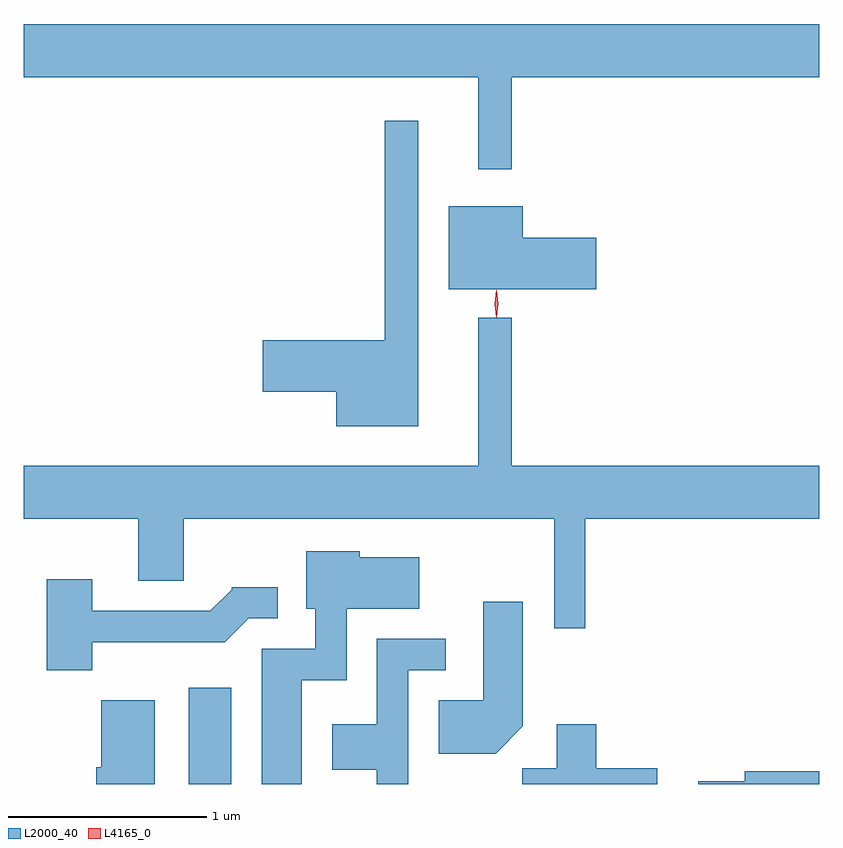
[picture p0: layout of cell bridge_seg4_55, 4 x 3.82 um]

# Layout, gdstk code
import gdstk
lib = gdstk.Library(unit=1e-6, precision=1e-09)
def R(c, l, rs):  # rectangles x0, y0, x1, y1
    for r in rs: c.add(gdstk.rectangle(r[:2], r[2:], *l))
def P(c, l, *ps):  # polygons
    for p in ps: c.add(gdstk.Polygon(p, *l))
L2000_40 = (2000, 40)
L4165_0 = (4165, 0)

bridge_seg4_55 = lib.new_cell('bridge_seg4_55')
R(bridge_seg4_55, L2000_40, [(1278.676,1286.744,1278.889,1287.229)])
P(bridge_seg4_55, L2000_40, [(1280.299,1290.296),(1281.845,1290.296),(1281.845,1290.564),(1277.845,1290.564),(1277.845,1290.296),(1280.131,1290.296),(1280.131,1289.833),(1280.299,1289.833)],
  [(1279.829,1290.078),(1279.661,1290.078),(1279.661,1288.974),(1279.046,1288.974),(1279.046,1288.716),(1279.416,1288.716),(1279.416,1288.541),(1279.829,1288.541)],
  [(1280.724,1289.489),(1280.354,1289.489),(1280.354,1289.649),(1279.981,1289.649),(1279.981,1289.231),(1280.724,1289.231)],
  [(1280.669,1288.076),(1281.845,1288.076),(1281.845,1288.344),(1280.299,1288.344),(1280.299,1289.088),(1280.131,1289.088),(1280.131,1288.344),(1277.845,1288.344),(1277.845,1288.076),(1278.421,1288.076),(1278.421,1287.766),(1278.649,1287.766),(1278.649,1288.076),(1280.511,1288.076),(1280.511,1287.528),(1280.669,1287.528)],
  [(1279.244,1287.266),(1279.469,1287.266),(1279.469,1287.626),(1279.834,1287.626),(1279.834,1287.884),(1279.534,1287.884),(1279.534,1287.914),(1279.266,1287.914),(1279.266,1287.626),(1279.311,1287.626),(1279.311,1287.424),(1279.041,1287.424),(1279.041,1286.744),(1279.244,1286.744)],
  [(1278.189,1287.456),(1278.857,1287.456),(1278.977,1287.576),(1279.123,1287.576),(1279.123,1287.734),(1278.89,1287.734),(1278.89,1287.721),(1278.784,1287.614),(1278.189,1287.614),(1278.189,1287.774),(1277.961,1287.774),(1277.961,1287.316),(1278.189,1287.316)],
  [(1280.354,1287.034),(1280.354,1287.659),(1280.156,1287.659),(1280.156,1287.164),(1279.931,1287.164),(1279.931,1286.896),(1280.217,1286.896)],
  [(1279.779,1287.316),(1279.968,1287.316),(1279.968,1287.474),(1279.621,1287.474),(1279.621,1287.044),(1279.396,1287.044),(1279.396,1286.816),(1279.621,1286.816),(1279.621,1286.744),(1279.779,1286.744)],
  [(1278.504,1287.164),(1278.236,1287.164),(1278.236,1286.829),(1278.211,1286.829),(1278.211,1286.744),(1278.504,1286.744)],
  [(1281.029,1286.824),(1280.724,1286.824),(1280.724,1287.044),(1280.526,1287.044),(1280.526,1286.824),(1280.351,1286.824),(1280.351,1286.744),(1281.029,1286.744)],
  [(1281.845,1286.809),(1281.471,1286.809),(1281.471,1286.759),(1281.236,1286.759),(1281.236,1286.744),(1281.845,1286.744)])
P(bridge_seg4_55, L4165_0, [(1280.221,1289.09),(1280.212,1289.158),(1280.221,1289.225),(1280.222,1289.226),(1280.222,1289.225),(1280.232,1289.158),(1280.222,1289.09),(1280.222,1289.09)],
  [(1280.221,1289.093),(1280.212,1289.156),(1280.221,1289.219),(1280.222,1289.22),(1280.222,1289.219),(1280.232,1289.156),(1280.222,1289.093),(1280.222,1289.093)])

lib.write_gds('bridge_seg4_55.gds')
